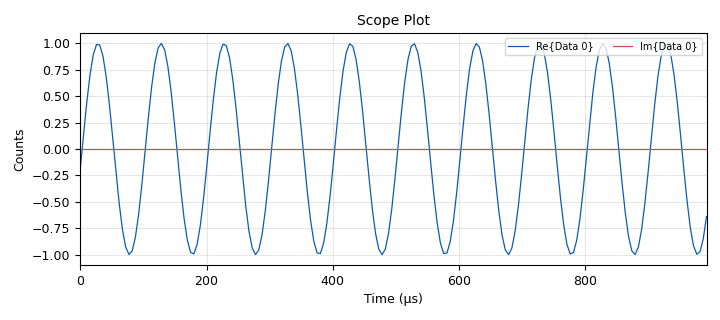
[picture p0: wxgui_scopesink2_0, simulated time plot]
<?xml version='1.0' encoding='utf-8'?>
<flow_graph>
<block>
<key>options</key>
<param><key>id</key><value>tx_carrier</value></param>
<param><key>title</key><value>TX Carrier</value></param>
<param><key>author</key><value>ELEC350</value></param>
<param><key>description</key><value>Lab 1</value></param>
<param><key>generate_options</key><value>wx_gui</value></param>
<param><key>category</key><value>Custom</value></param>
</block>
<block>
<key>uhd_usrp_sink</key>
<param><key>id</key><value>uhd_usrp_sink_0</value></param>
<param><key>type</key><value>fc32</value></param>
<param><key>dev_addr</key><value></value></param>
<param><key>sync</key><value></value></param>
<param><key>clock_rate</key><value>0.0</value></param>
<param><key>samp_rate</key><value>samp_rate</value></param>
<param><key>center_freq0</key><value>50000000</value></param>
<param><key>gain0</key><value>0</value></param>
<param><key>ant0</key><value></value></param>
</block>
<block>
<key>blocks_float_to_complex</key>
<param><key>id</key><value>blocks_float_to_complex_0</value></param>
</block>
<block>
<key>wxgui_scopesink2</key>
<param><key>id</key><value>wxgui_scopesink2_0</value></param>
<param><key>type</key><value>complex</value></param>
<param><key>title</key><value>Scope Plot</value></param>
<param><key>samp_rate</key><value>samp_rate</value></param>
<param><key>v_scale</key><value>0</value></param>
<param><key>v_offset</key><value>0</value></param>
<param><key>t_scale</key><value>0</value></param>
<param><key>ac_couple</key><value>False</value></param>
<param><key>xy_mode</key><value>False</value></param>
<param><key>num_inputs</key><value>1</value></param>
<param><key>trig_mode</key><value>wxgui.TRIG_MODE_AUTO</value></param>
<param><key>y_axis_label</key><value>Counts</value></param>
</block>
<block>
<key>variable</key>
<param><key>id</key><value>fc</value></param>
<param><key>value</key><value>10000</value></param>
</block>
<block>
<key>variable_chooser</key>
<param><key>id</key><value>q_amplitude</value></param>
<param><key>label</key><value>Q(t)</value></param>
<param><key>value</key><value>0</value></param>
<param><key>choices</key><value>[0, 1, -1]</value></param>
<param><key>labels</key><value>['0', 'sin(2*pi*fc*t)', '-sin(2*pi*fc*t)']</value></param>
<param><key>type</key><value>radio_buttons</value></param>
<param><key>style</key><value>wx.RA_HORIZONTAL</value></param>
</block>
<block>
<key>analog_sig_source_x</key>
<param><key>id</key><value>analog_sig_source_x_0</value></param>
<param><key>type</key><value>float</value></param>
<param><key>samp_rate</key><value>samp_rate</value></param>
<param><key>waveform</key><value>analog.GR_COS_WAVE</value></param>
<param><key>freq</key><value>fc</value></param>
<param><key>amp</key><value>1</value></param>
<param><key>offset</key><value>0</value></param>
</block>
<block>
<key>analog_sig_source_x</key>
<param><key>id</key><value>analog_sig_source_x_1</value></param>
<param><key>type</key><value>float</value></param>
<param><key>samp_rate</key><value>samp_rate</value></param>
<param><key>waveform</key><value>analog.GR_SIN_WAVE</value></param>
<param><key>freq</key><value>fc</value></param>
<param><key>amp</key><value>q_amplitude</value></param>
<param><key>offset</key><value>0</value></param>
</block>
<block>
<key>variable</key>
<param><key>id</key><value>samp_rate</value></param>
<param><key>value</key><value>194.552529e3</value></param>
</block>
<connection><source_block_id>analog_sig_source_x_0</source_block_id><sink_block_id>blocks_float_to_complex_0</sink_block_id><source_key>0</source_key><sink_key>0</sink_key></connection>
<connection><source_block_id>analog_sig_source_x_1</source_block_id><sink_block_id>blocks_float_to_complex_0</sink_block_id><source_key>0</source_key><sink_key>1</sink_key></connection>
<connection><source_block_id>blocks_float_to_complex_0</source_block_id><sink_block_id>uhd_usrp_sink_0</sink_block_id><source_key>0</source_key><sink_key>0</sink_key></connection>
<connection><source_block_id>blocks_float_to_complex_0</source_block_id><sink_block_id>wxgui_scopesink2_0</sink_block_id><source_key>0</source_key><sink_key>0</sink_key></connection>
</flow_graph>
